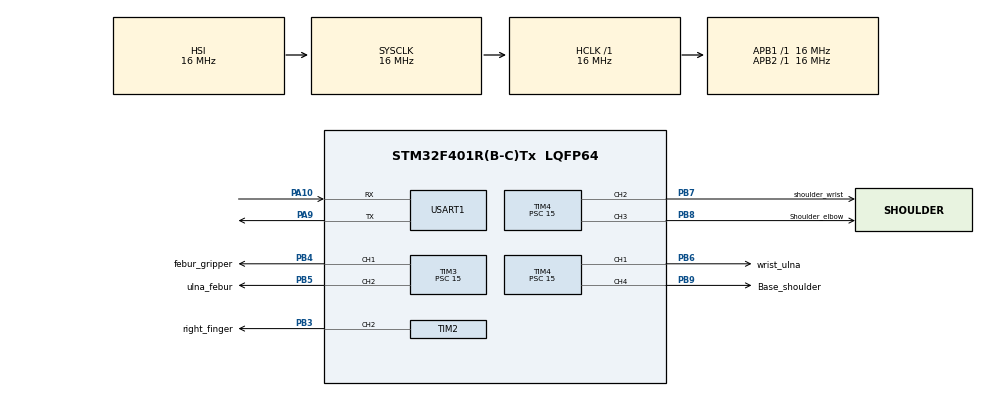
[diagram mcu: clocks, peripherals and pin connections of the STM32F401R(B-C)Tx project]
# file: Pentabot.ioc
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Dma.Request0=USART1_RX
Dma.USART1_RX.0.Direction=DMA_PERIPH_TO_MEMORY
Dma.USART1_RX.0.FIFOMode=DMA_FIFOMODE_DISABLE
Dma.USART1_RX.0.Instance=DMA2_Stream5
Dma.USART1_RX.0.MemDataAlignment=DMA_MDATAALIGN_BYTE
Dma.USART1_RX.0.MemInc=DMA_MINC_ENABLE
Dma.USART1_RX.0.Mode=DMA_NORMAL
Dma.USART1_RX.0.PeriphDataAlignment=DMA_PDATAALIGN_BYTE
Dma.USART1_RX.0.PeriphInc=DMA_PINC_DISABLE
Dma.USART1_RX.0.Priority=DMA_PRIORITY_LOW
Mcu.Family=STM32F4
Mcu.Name=STM32F401R(B-C)Tx
Mcu.Package=LQFP64
NVIC.DMA2_Stream5_IRQn=true\:0\:0\:false\:false\:true\:false\:true\:true
NVIC.PriorityGroup=NVIC_PRIORITYGROUP_4
NVIC.USART1_IRQn=true\:0\:0\:false\:false\:true\:true\:true\:true
PA10.Mode=Asynchronous
PA10.Signal=USART1_RX
PA9.Mode=Asynchronous
PA9.Signal=USART1_TX
PB3.GPIO_Label=right_finger
PB3.Signal=S_TIM2_CH2
PB4.GPIO_Label=febur_gripper
PB4.Signal=S_TIM3_CH1
PB5.GPIO_Label=ulna_febur
PB5.Signal=S_TIM3_CH2
PB6.GPIO_Label=wrist_ulna
PB6.Signal=S_TIM4_CH1
PB7.GPIO_Label=shoulder_wrist
PB7.Signal=S_TIM4_CH2
PB8.GPIO_Label=Shoulder_elbow
PB8.Signal=S_TIM4_CH3
PB9.GPIO_Label=Base_shoulder
PB9.Signal=S_TIM4_CH4
PH0\ -\ OSC_IN.Mode=HSE-External-Oscillator
PH0\ -\ OSC_IN.Signal=RCC_OSC_IN
PH1\ -\ OSC_OUT.Mode=HSE-External-Oscillator
PH1\ -\ OSC_OUT.Signal=RCC_OSC_OUT
ProjectManager.HeapSize=0x200
ProjectManager.StackSize=0x400
ProjectManager.TargetToolchain=STM32CubeIDE
RCC.AHBFreq_Value=16000000
RCC.APB1Freq_Value=16000000
RCC.APB2Freq_Value=16000000
RCC.CortexFreq_Value=16000000
RCC.HSE_VALUE=25000000
RCC.HSI_VALUE=16000000
RCC.LSE_VALUE=32768
RCC.SYSCLKFreq_VALUE=16000000
RCC.VCOOutputFreq_Value=192000000
SH.S_TIM2_CH2.0=TIM2_CH2,PWM Generation2 CH2
SH.S_TIM3_CH1.0=TIM3_CH1,PWM Generation1 CH1
SH.S_TIM3_CH2.0=TIM3_CH2,PWM Generation2 CH2
SH.S_TIM4_CH1.0=TIM4_CH1,PWM Generation1 CH1
SH.S_TIM4_CH2.0=TIM4_CH2,PWM Generation2 CH2
SH.S_TIM4_CH3.0=TIM4_CH3,PWM Generation3 CH3
SH.S_TIM4_CH4.0=TIM4_CH4,PWM Generation4 CH4
TIM2.Channel-PWM\ Generation2\ CH2=TIM_CHANNEL_2
TIM2.Period=19999
TIM2.Prescaler=15
TIM3.Channel-PWM\ Generation1\ CH1=TIM_CHANNEL_1
TIM3.Channel-PWM\ Generation2\ CH2=TIM_CHANNEL_2
TIM3.Period=19999
TIM3.Prescaler=15
TIM4.Channel-PWM\ Generation1\ CH1=TIM_CHANNEL_1
TIM4.Channel-PWM\ Generation2\ CH2=TIM_CHANNEL_2
TIM4.Channel-PWM\ Generation3\ CH3=TIM_CHANNEL_3
TIM4.Channel-PWM\ Generation4\ CH4=TIM_CHANNEL_4
TIM4.Period=19999
TIM4.Prescaler=15
USART1.VirtualMode=VM_ASYNC
board=custom

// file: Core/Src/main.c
/* USER CODE BEGIN Header */
/**
 ******************************************************************************
 * @file           : main.c
 * @brief          : Main program body
 ******************************************************************************
 * @attention
 *
 * Copyright (c) 2024 STMicroelectronics.
 * All rights reserved.
 *
 * This software is licensed under terms that can be found in the LICENSE file
 * in the root directory of this software component.
 * If no LICENSE file comes with this software, it is provided AS-IS.
 *
 ******************************************************************************
 */
/* USER CODE END Header */
#include "main.h"

/* USER CODE BEGIN Includes */
#include <stddef.h>
#include <string.h>
#include <stdlib.h>
#include <stdint.h>		// To include uintXX_t type
#include <stdbool.h>	// To include the bool type
#include <stdio.h>
/* USER CODE END Includes */

/* USER CODE BEGIN PD */
#define RxBufferSize 100
#define MAX_ANGLE_LENGTH 4  // Adjust if needed (4 digits + comma)
/* USER CODE END PD */

TIM_HandleTypeDef htim2;
TIM_HandleTypeDef htim3;
TIM_HandleTypeDef htim4;

UART_HandleTypeDef huart1;
DMA_HandleTypeDef hdma_usart1_rx;

/* USER CODE BEGIN PV */
uint8_t RxData[RxBufferSize];
char send[100];
int ReadyToSend = 1;

struct Servo {
	int Angle;
	int SetAngle;
	float MovingAngle;
	float Step;
};

int globalcounter = 0;

uint32_t CurrentMillis = 0;
uint32_t PreviousMillis, PreviousMillis_LED = 0;

struct Servo Base_Shoulder;
struct Servo Shoulder_Elbow;
struct Servo Elbow_Wrist;
struct Servo Wrist_Ulna;
struct Servo Ulna_Febur;
struct Servo Febur_Gripper;
struct Servo Right_finger;
/* USER CODE END PV */

void SystemClock_Config(void);
static void MX_GPIO_Init(void);
static void MX_DMA_Init(void);
static void MX_TIM2_Init(void);
static void MX_TIM3_Init(void);
static void MX_TIM4_Init(void);
static void MX_USART1_UART_Init(void);

/* USER CODE BEGIN 0 */
void HAL_UARTEx_RxEventCallback(UART_HandleTypeDef *huart, uint16_t Size) {
	// Ensure we're using UART1
	if (huart->Instance == USART1) {
		RxData[Size] = '\0';  // Null-terminate received data
		char *token;
		int servo_angles[7] = { 0 };  // Initialize angles array to zero
		int index = 0;

		// Parse RxData for comma-separated values
		token = strtok((char*) RxData, ",");
		while (token != NULL && index < 7) {  // Parse up to 5 angles
			servo_angles[index] = atoi(token); // Convert angle string to integer
			if (servo_angles[index] > 180) {
				servo_angles[index] = 180;     // Cap angle to max 180
			}
			index++;
			token = strtok(NULL, ",");         // Move to next token
		}

		// Assign angles to respective servos (ensure order is correct)
		if (index > 0)
			Base_Shoulder.SetAngle = servo_angles[0];
		if (index > 1)
			Shoulder_Elbow.SetAngle = servo_angles[1];
		if (index > 2)
			Elbow_Wrist.SetAngle = servo_angles[2];
		if (index > 3)
			Wrist_Ulna.SetAngle = servo_angles[3];
		if (index > 4)
			Ulna_Febur.SetAngle = servo_angles[4];
		if (index > 5)
			Febur_Gripper.SetAngle = servo_angles[5];
		if (index > 6)
			Right_finger.SetAngle = servo_angles[6];

		// Clear RxData buffer for the next command
		memset(RxData, 0, RxBufferSize);
	}
	HAL_UARTEx_ReceiveToIdle_DMA(&huart1, RxData, RxBufferSize);
}

void HAL_UART_TxCpltCallback(UART_HandleTypeDef *huart) {
	ReadyToSend = 1;

}

void SetServoAngle(TIM_HandleTypeDef *htim, uint32_t channel, int angle) {
	int pulseWidth = 500 + (angle * (2500 - 500) / 180); // Map angle to 500-2500μs range
	__HAL_TIM_SetCompare(htim, channel, pulseWidth);
}

/* Initialize Servos */
void ServoInit() {
	// Base_Shoulder Servo on TIM4 CH4 (PB9)
	HAL_TIM_PWM_Init(&htim4);
	HAL_TIM_PWM_Init(&htim3);
	HAL_TIM_PWM_Init(&htim2);
	HAL_TIM_PWM_Start(&htim4, TIM_CHANNEL_1); //Base_Shoulder
	HAL_TIM_PWM_Start(&htim4, TIM_CHANNEL_2); //Shoulder_elbow
	HAL_TIM_PWM_Start(&htim4, TIM_CHANNEL_3); //Elbow_wrist
	HAL_TIM_PWM_Start(&htim4, TIM_CHANNEL_4); //Wrist_ulna
	HAL_TIM_PWM_Start(&htim3, TIM_CHANNEL_1); //Ulna_febur
	HAL_TIM_PWM_Start(&htim3, TIM_CHANNEL_2); //Febur_gripper
	HAL_TIM_PWM_Start(&htim2, TIM_CHANNEL_2); //Right_finger

	// Repeat initialization for other servos...

	// Set all servos to 90 degrees (Home position)
	SetServoAngle(&htim4, TIM_CHANNEL_4, 90);
	Base_Shoulder.Angle = 90;
	Base_Shoulder.SetAngle = 90;
	Base_Shoulder.MovingAngle = 90.0;
	SetServoAngle(&htim4, TIM_CHANNEL_3, 90);
	Shoulder_Elbow.Angle = 90;
	Shoulder_Elbow.SetAngle = 90;
	Shoulder_Elbow.MovingAngle = 90.0;
	SetServoAngle(&htim4, TIM_CHANNEL_2, 90);
	Elbow_Wrist.Angle = 90;
	Elbow_Wrist.SetAngle = 90;
	Elbow_Wrist.MovingAngle = 90.0;
	SetServoAngle(&htim4, TIM_CHANNEL_1, 90);
	Wrist_Ulna.Angle = 90;
	Wrist_Ulna.SetAngle = 90;
	Wrist_Ulna.MovingAngle = 90.0;
	SetServoAngle(&htim3, TIM_CHANNEL_2, 90);
	Ulna_Febur.Angle = 90;
	Ulna_Febur.SetAngle = 90;
	Ulna_Febur.MovingAngle = 90.0;
	SetServoAngle(&htim3, TIM_CHANNEL_1, 90);
	Febur_Gripper.Angle = 90;
	Febur_Gripper.SetAngle = 90;
	Febur_Gripper.MovingAngle = 90.0;
	SetServoAngle(&htim2, TIM_CHANNEL_2, 90);
	Right_finger.Angle = 90;
	Right_finger.SetAngle = 90;
	Right_finger.MovingAngle = 90.0;
}

// TEST YOUR SERVO MOTORS
void Servo_Test(TIM_HandleTypeDef *htim, uint32_t channel) {
	int x;
	for (x = 500; x < 2500; x = x + 1) {
		__HAL_TIM_SET_COMPARE(htim, channel, x);
		HAL_Delay(3);
	}
}

/* USER CODE END 0 */

int main(void)
{

  /* MCU Configuration--------------------------------------------------------*/

  /* Reset of all peripherals, Initializes the Flash interface and the Systick. */
  HAL_Init();

  /* Configure the system clock */
  SystemClock_Config();

  /* Initialize all configured peripherals */
  MX_GPIO_Init();
  MX_DMA_Init();
  MX_TIM2_Init();
  MX_TIM3_Init();
  MX_TIM4_Init();
  MX_USART1_UART_Init();
  /* USER CODE BEGIN 2 */
	HAL_UARTEx_ReceiveToIdle_DMA(&huart1, RxData, RxBufferSize);

	ServoInit();
	HAL_GPIO_TogglePin(GPIOC, GPIO_PIN_13);
	CurrentMillis = 0;
	PreviousMillis = HAL_GetTick();
	PreviousMillis_LED = HAL_GetTick();
  /* USER CODE END 2 */

  /* Infinite loop */
  /* USER CODE BEGIN WHILE */
	while (1) {
		CurrentMillis = HAL_GetTick();

		if (Base_Shoulder.Angle != Base_Shoulder.SetAngle) {
			if (Base_Shoulder.SetAngle > Base_Shoulder.Angle) {
				Base_Shoulder.Angle += 1;
			} else {
				Base_Shoulder.Angle -= 1;
			}
			SetServoAngle(&htim4, TIM_CHANNEL_4, Base_Shoulder.Angle);
			HAL_Delay(2);
		}

		if (Shoulder_Elbow.Angle != Shoulder_Elbow.SetAngle) {
			if (Shoulder_Elbow.SetAngle > Shoulder_Elbow.Angle) {
				Shoulder_Elbow.Angle += 1;
			} else {
				Shoulder_Elbow.Angle -= 1;
			}
			SetServoAngle(&htim4, TIM_CHANNEL_3, Shoulder_Elbow.Angle);
			HAL_Delay(2);
		}

		if (Elbow_Wrist.Angle != Elbow_Wrist.SetAngle) {
			if (Elbow_Wrist.SetAngle > Elbow_Wrist.Angle) {
				Elbow_Wrist.Angle += 1;
			} else {
				Elbow_Wrist.Angle -= 1;
			}
			SetServoAngle(&htim4, TIM_CHANNEL_2, Elbow_Wrist.Angle);
			HAL_Delay(2);
		}

		if (Wrist_Ulna.Angle != Wrist_Ulna.SetAngle) {
			if (Wrist_Ulna.SetAngle > Wrist_Ulna.Angle) {
				Wrist_Ulna.Angle += 1;
			} else {
				Wrist_Ulna.Angle -= 1;
			}
			SetServoAngle(&htim4, TIM_CHANNEL_1, Wrist_Ulna.Angle);
			HAL_Delay(2);
		}

		if (Ulna_Febur.Angle != Ulna_Febur.SetAngle) {
			if (Ulna_Febur.SetAngle > Ulna_Febur.Angle) {
				Ulna_Febur.Angle += 1;
			} else {
				Ulna_Febur.Angle -= 1;
			}
			SetServoAngle(&htim3, TIM_CHANNEL_2, Ulna_Febur.Angle);
			HAL_Delay(2);
		}

		if (Febur_Gripper.Angle != Febur_Gripper.SetAngle) {
			if (Febur_Gripper.SetAngle > Febur_Gripper.Angle) {
				Febur_Gripper.Angle += 1;
			} else {
				Febur_Gripper.Angle -= 1;
			}
			SetServoAngle(&htim3, TIM_CHANNEL_1, Febur_Gripper.Angle);
			HAL_Delay(2);
		}

		if (Right_finger.Angle != Right_finger.SetAngle) {
			if (Right_finger.SetAngle > Right_finger.Angle) {
				Right_finger.Angle += 1;
			} else {
				Right_finger.Angle -= 1;
			}
			SetServoAngle(&htim2, TIM_CHANNEL_2, Right_finger.Angle);
			HAL_Delay(2);
		}

		if ((CurrentMillis - PreviousMillis) >= 16 && ReadyToSend == 1) {

			sprintf(send, "B_S %d,S_E %d,E_W %d,W_U %d,U_F %d,F_G %d,R_f %d\n",
					Base_Shoulder.Angle, Shoulder_Elbow.Angle,
					Elbow_Wrist.Angle, Wrist_Ulna.Angle, Ulna_Febur.Angle, Febur_Gripper.Angle, Right_finger.Angle);
			HAL_UART_Transmit_IT(&huart1, (uint8_t*) send, strlen(send));
			ReadyToSend = 0;
			PreviousMillis = CurrentMillis;
		}

		if ((CurrentMillis - PreviousMillis_LED) >= 1000) {
			HAL_GPIO_TogglePin(GPIOC, GPIO_PIN_13);

			PreviousMillis_LED = CurrentMillis;
		}
    /* USER CODE END WHILE */

	}
}

void SystemClock_Config(void)
{
  RCC_OscInitTypeDef RCC_OscInitStruct = {0};
  RCC_ClkInitTypeDef RCC_ClkInitStruct = {0};

  /** Configure the main internal regulator output voltage
  */
  __HAL_RCC_PWR_CLK_ENABLE();
  __HAL_PWR_VOLTAGESCALING_CONFIG(PWR_REGULATOR_VOLTAGE_SCALE2);

  /** Initializes the RCC Oscillators according to the specified parameters
  * in the RCC_OscInitTypeDef structure.
  */
  RCC_OscInitStruct.OscillatorType = RCC_OSCILLATORTYPE_HSI;
  RCC_OscInitStruct.HSIState = RCC_HSI_ON;
  RCC_OscInitStruct.HSICalibrationValue = RCC_HSICALIBRATION_DEFAULT;
  RCC_OscInitStruct.PLL.PLLState = RCC_PLL_NONE;
  if (HAL_RCC_OscConfig(&RCC_OscInitStruct) != HAL_OK)
  {
    Error_Handler();
  }

  /** Initializes the CPU, AHB and APB buses clocks
  */
  RCC_ClkInitStruct.ClockType = RCC_CLOCKTYPE_HCLK|RCC_CLOCKTYPE_SYSCLK
                              |RCC_CLOCKTYPE_PCLK1|RCC_CLOCKTYPE_PCLK2;
  RCC_ClkInitStruct.SYSCLKSource = RCC_SYSCLKSOURCE_HSI;
  RCC_ClkInitStruct.AHBCLKDivider = RCC_SYSCLK_DIV1;
  RCC_ClkInitStruct.APB1CLKDivider = RCC_HCLK_DIV1;
  RCC_ClkInitStruct.APB2CLKDivider = RCC_HCLK_DIV1;

  if (HAL_RCC_ClockConfig(&RCC_ClkInitStruct, FLASH_LATENCY_0) != HAL_OK)
  {
    Error_Handler();
  }
}

static void MX_TIM2_Init(void)
{

  TIM_MasterConfigTypeDef sMasterConfig = {0};
  TIM_OC_InitTypeDef sConfigOC = {0};

  htim2.Instance = TIM2;
  htim2.Init.Prescaler = 15;
  htim2.Init.CounterMode = TIM_COUNTERMODE_UP;
  htim2.Init.Period = 19999;
  htim2.Init.ClockDivision = TIM_CLOCKDIVISION_DIV1;
  htim2.Init.AutoReloadPreload = TIM_AUTORELOAD_PRELOAD_DISABLE;
  if (HAL_TIM_PWM_Init(&htim2) != HAL_OK)
  {
    Error_Handler();
  }
  sMasterConfig.MasterOutputTrigger = TIM_TRGO_RESET;
  sMasterConfig.MasterSlaveMode = TIM_MASTERSLAVEMODE_DISABLE;
  if (HAL_TIMEx_MasterConfigSynchronization(&htim2, &sMasterConfig) != HAL_OK)
  {
    Error_Handler();
  }
  sConfigOC.OCMode = TIM_OCMODE_PWM1;
  sConfigOC.Pulse = 0;
  sConfigOC.OCPolarity = TIM_OCPOLARITY_HIGH;
  sConfigOC.OCFastMode = TIM_OCFAST_DISABLE;
  if (HAL_TIM_PWM_ConfigChannel(&htim2, &sConfigOC, TIM_CHANNEL_2) != HAL_OK)
  {
    Error_Handler();
  }
  HAL_TIM_MspPostInit(&htim2);

}

static void MX_TIM3_Init(void)
{

  TIM_MasterConfigTypeDef sMasterConfig = {0};
  TIM_OC_InitTypeDef sConfigOC = {0};

  htim3.Instance = TIM3;
  htim3.Init.Prescaler = 15;
  htim3.Init.CounterMode = TIM_COUNTERMODE_UP;
  htim3.Init.Period = 19999;
  htim3.Init.ClockDivision = TIM_CLOCKDIVISION_DIV1;
  htim3.Init.AutoReloadPreload = TIM_AUTORELOAD_PRELOAD_DISABLE;
  if (HAL_TIM_PWM_Init(&htim3) != HAL_OK)
  {
    Error_Handler();
  }
  sMasterConfig.MasterOutputTrigger = TIM_TRGO_RESET;
  sMasterConfig.MasterSlaveMode = TIM_MASTERSLAVEMODE_DISABLE;
  if (HAL_TIMEx_MasterConfigSynchronization(&htim3, &sMasterConfig) != HAL_OK)
  {
    Error_Handler();
  }
  sConfigOC.OCMode = TIM_OCMODE_PWM1;
  sConfigOC.Pulse = 0;
  sConfigOC.OCPolarity = TIM_OCPOLARITY_HIGH;
  sConfigOC.OCFastMode = TIM_OCFAST_DISABLE;
  if (HAL_TIM_PWM_ConfigChannel(&htim3, &sConfigOC, TIM_CHANNEL_1) != HAL_OK)
  {
    Error_Handler();
  }
  if (HAL_TIM_PWM_ConfigChannel(&htim3, &sConfigOC, TIM_CHANNEL_2) != HAL_OK)
  {
    Error_Handler();
  }
  HAL_TIM_MspPostInit(&htim3);

}

static void MX_TIM4_Init(void)
{

  TIM_MasterConfigTypeDef sMasterConfig = {0};
  TIM_OC_InitTypeDef sConfigOC = {0};

  htim4.Instance = TIM4;
  htim4.Init.Prescaler = 15;
  htim4.Init.CounterMode = TIM_COUNTERMODE_UP;
  htim4.Init.Period = 19999;
  htim4.Init.ClockDivision = TIM_CLOCKDIVISION_DIV1;
  htim4.Init.AutoReloadPreload = TIM_AUTORELOAD_PRELOAD_DISABLE;
  if (HAL_TIM_PWM_Init(&htim4) != HAL_OK)
  {
    Error_Handler();
  }
  sMasterConfig.MasterOutputTrigger = TIM_TRGO_RESET;
  sMasterConfig.MasterSlaveMode = TIM_MASTERSLAVEMODE_DISABLE;
  if (HAL_TIMEx_MasterConfigSynchronization(&htim4, &sMasterConfig) != HAL_OK)
  {
    Error_Handler();
  }
  sConfigOC.OCMode = TIM_OCMODE_PWM1;
  sConfigOC.Pulse = 0;
  sConfigOC.OCPolarity = TIM_OCPOLARITY_HIGH;
  sConfigOC.OCFastMode = TIM_OCFAST_DISABLE;
  if (HAL_TIM_PWM_ConfigChannel(&htim4, &sConfigOC, TIM_CHANNEL_1) != HAL_OK)
  {
    Error_Handler();
  }
  if (HAL_TIM_PWM_ConfigChannel(&htim4, &sConfigOC, TIM_CHANNEL_2) != HAL_OK)
  {
    Error_Handler();
  }
  if (HAL_TIM_PWM_ConfigChannel(&htim4, &sConfigOC, TIM_CHANNEL_3) != HAL_OK)
  {
    Error_Handler();
  }
  if (HAL_TIM_PWM_ConfigChannel(&htim4, &sConfigOC, TIM_CHANNEL_4) != HAL_OK)
  {
    Error_Handler();
  }
  HAL_TIM_MspPostInit(&htim4);

}

static void MX_USART1_UART_Init(void)
{

  huart1.Instance = USART1;
  huart1.Init.BaudRate = 115200;
  huart1.Init.WordLength = UART_WORDLENGTH_8B;
  huart1.Init.StopBits = UART_STOPBITS_1;
  huart1.Init.Parity = UART_PARITY_NONE;
  huart1.Init.Mode = UART_MODE_TX_RX;
  huart1.Init.HwFlowCtl = UART_HWCONTROL_NONE;
  huart1.Init.OverSampling = UART_OVERSAMPLING_16;
  if (HAL_UART_Init(&huart1) != HAL_OK)
  {
    Error_Handler();
  }

}

static void MX_DMA_Init(void)
{

  /* DMA controller clock enable */
  __HAL_RCC_DMA2_CLK_ENABLE();

  /* DMA interrupt init */
  /* DMA2_Stream5_IRQn interrupt configuration */
  HAL_NVIC_SetPriority(DMA2_Stream5_IRQn, 0, 0);
  HAL_NVIC_EnableIRQ(DMA2_Stream5_IRQn);

}

static void MX_GPIO_Init(void)
{

  /* GPIO Ports Clock Enable */
  __HAL_RCC_GPIOH_CLK_ENABLE();
  __HAL_RCC_GPIOA_CLK_ENABLE();
  __HAL_RCC_GPIOB_CLK_ENABLE();

}

void Error_Handler(void)
{
	__disable_irq();
	while (1) {
	}
}
